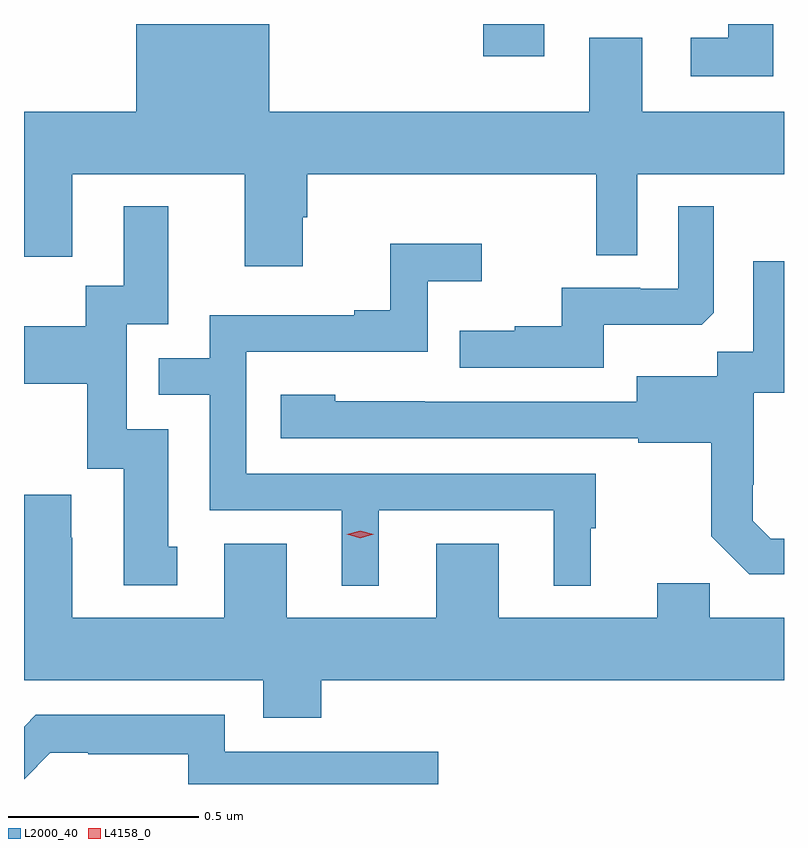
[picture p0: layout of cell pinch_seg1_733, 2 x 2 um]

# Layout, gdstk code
import gdstk
lib = gdstk.Library(unit=1e-6, precision=1e-09)
def R(c, l, rs):  # rectangles x0, y0, x1, y1
    for r in rs: c.add(gdstk.rectangle(r[:2], r[2:], *l))
def P(c, l, *ps):  # polygons
    for p in ps: c.add(gdstk.Polygon(p, *l))
L2000_40 = (2000, 40)
L4158_0 = (4158, 0)

pinch_seg1_733 = lib.new_cell('pinch_seg1_733')
R(pinch_seg1_733, L2000_40, [(678.416,529.398,678.577,529.483)])
P(pinch_seg1_733, L2000_40, [(677.941,528.975),(677.954,528.975),(677.954,529.088),(678.714,529.088),(678.714,528.874),(678.822,528.874),(678.822,529.088),(679.208,529.088),(679.208,529.252),(678.835,529.252),(678.835,529.447),(678.695,529.447),(678.695,529.252),(677.854,529.252),(677.854,529.483),(677.504,529.483),(677.504,529.252),(677.208,529.252),(677.208,528.87),(677.335,528.87),(677.335,529.088),(677.789,529.088),(677.789,528.846),(677.941,528.846)],
  [(679.18,529.483),(679.061,529.483),(679.061,529.447),(678.963,529.447),(678.963,529.346),(679.18,529.346)],
  [(678.733,528.692),(678.991,528.692),(679.023,528.723),(679.023,529.003),(678.93,529.003),(678.93,528.786),(678.83,528.786),(678.83,528.789),(678.623,528.789),(678.623,528.688),(678.499,528.688),(678.499,528.676),(678.355,528.676),(678.355,528.579),(678.733,528.579)],
  [(677.611,528.108),(677.587,528.108),(677.587,528.417),(677.478,528.417),(677.478,528.693),(677.587,528.693),(677.587,529.003),(677.471,529.003),(677.471,528.794),(677.37,528.794),(677.37,528.688),(677.208,528.688),(677.208,528.536),(677.375,528.536),(677.375,528.312),(677.471,528.312),(677.471,528.006),(677.611,528.006)],
  [(678.142,528.204),(678.602,528.204),(678.602,528.005),(678.7,528.005),(678.7,528.156),(678.712,528.156),(678.712,528.3),(677.793,528.3),(677.793,528.621),(678.27,528.621),(678.27,528.806),(678.412,528.806),(678.412,528.905),(678.172,528.905),(678.172,528.73),(678.077,528.73),(678.077,528.717),(677.697,528.717),(677.697,528.603),(677.563,528.603),(677.563,528.507),(677.697,528.507),(677.697,528.204),(678.044,528.204),(678.044,528.005),(678.142,528.005)],
  [(679.208,528.129),(679.173,528.129),(679.126,528.176),(679.126,528.271),(679.128,528.271),(679.128,528.512),(679.208,528.512),(679.208,528.859),(679.127,528.859),(679.127,528.62),(679.032,528.62),(679.032,528.556),(678.821,528.556),(678.821,528.489),(678.263,528.489),(678.263,528.49),(678.027,528.49),(678.027,528.508),(677.883,528.508),(677.883,528.393),(678.825,528.393),(678.825,528.381),(679.017,528.381),(679.017,528.135),(679.117,528.035),(679.208,528.035)],
  [(677.99,527.756),(679.208,527.756),(679.208,527.92),(679.013,527.92),(679.013,528.011),(678.875,528.011),(678.875,527.92),(678.457,527.92),(678.457,528.115),(678.293,528.115),(678.293,527.92),(677.899,527.92),(677.899,528.115),(677.735,528.115),(677.735,527.92),(677.335,527.92),(677.335,528.131),(677.332,528.131),(677.332,528.244),(677.208,528.244),(677.208,527.756),(677.837,527.756),(677.837,527.657),(677.99,527.657)],
  [(678.298,527.568),(677.736,527.568),(677.736,527.665),(677.239,527.665),(677.208,527.634),(677.208,527.496),(677.277,527.565),(677.377,527.565),(677.377,527.561),(677.64,527.561),(677.64,527.483),(678.298,527.483)])
P(pinch_seg1_733, L4158_0, [(678.093,528.13),(678.057,528.14),(678.057,528.14),(678.057,528.14),(678.093,528.15),(678.129,528.14),(678.129,528.14),(678.129,528.14)])

lib.write_gds('pinch_seg1_733.gds')
